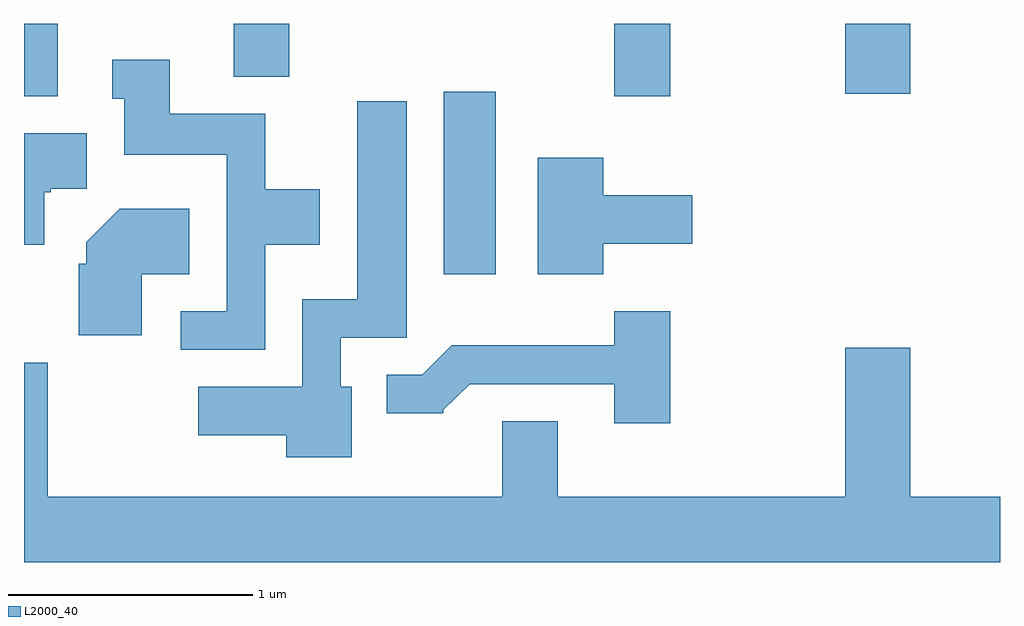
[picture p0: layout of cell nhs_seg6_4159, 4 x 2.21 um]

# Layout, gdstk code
import gdstk
lib = gdstk.Library(unit=1e-6, precision=1e-09)
def R(c, l, rs):  # rectangles x0, y0, x1, y1
    for r in rs: c.add(gdstk.rectangle(r[:2], r[2:], *l))
def P(c, l, *ps):  # polygons
    for p in ps: c.add(gdstk.Polygon(p, *l))
L2000_40 = (2000, 40)

nhs_seg6_4159 = lib.new_cell('nhs_seg6_4159')
R(nhs_seg6_4159, L2000_40, [(313.331,1631.136,313.544,1631.884), (311.611,1631.866,311.749,1632.162), (314.031,1631.866,314.259,1632.162), (314.976,1631.876,315.244,1632.162), (312.471,1631.946,312.699,1632.162)])
P(nhs_seg6_4159, L2000_40, [(312.599,1631.256),(312.824,1631.256),(312.824,1631.484),(312.599,1631.484),(312.599,1631.794),(312.209,1631.794),(312.209,1632.014),(311.973,1632.014),(311.973,1631.856),(312.021,1631.856),(312.021,1631.626),(312.441,1631.626),(312.441,1630.984),(312.253,1630.984),(312.253,1630.826),(312.599,1630.826)],
  [(312.954,1630.674),(312.909,1630.674),(312.909,1630.876),(313.179,1630.876),(313.179,1631.844),(312.976,1631.844),(312.976,1631.034),(312.751,1631.034),(312.751,1630.674),(312.326,1630.674),(312.326,1630.476),(312.686,1630.476),(312.686,1630.386),(312.954,1630.386)],
  [(311.694,1631.471),(311.72,1631.471),(311.72,1631.486),(311.869,1631.486),(311.869,1631.714),(311.611,1631.714),(311.611,1631.256),(311.694,1631.256)],
  [(313.984,1631.261),(314.349,1631.261),(314.349,1631.459),(313.984,1631.459),(313.984,1631.614),(313.716,1631.614),(313.716,1631.136),(313.984,1631.136)],
  [(312.094,1631.136),(312.289,1631.136),(312.289,1631.404),(312.004,1631.404),(311.866,1631.267),(311.866,1631.179),(311.836,1631.179),(311.836,1630.886),(312.094,1630.886)],
  [(314.259,1630.984),(314.031,1630.984),(314.031,1630.844),(313.364,1630.844),(313.244,1630.724),(313.098,1630.724),(313.098,1630.566),(313.33,1630.566),(313.33,1630.58),(313.437,1630.686),(314.031,1630.686),(314.031,1630.526),(314.259,1630.526)],
  [(315.611,1630.224),(315.244,1630.224),(315.244,1630.834),(314.976,1630.834),(314.976,1630.224),(313.799,1630.224),(313.799,1630.534),(313.571,1630.534),(313.571,1630.224),(311.709,1630.224),(311.709,1630.773),(311.611,1630.773),(311.611,1629.956),(315.611,1629.956)])

lib.write_gds('nhs_seg6_4159.gds')
